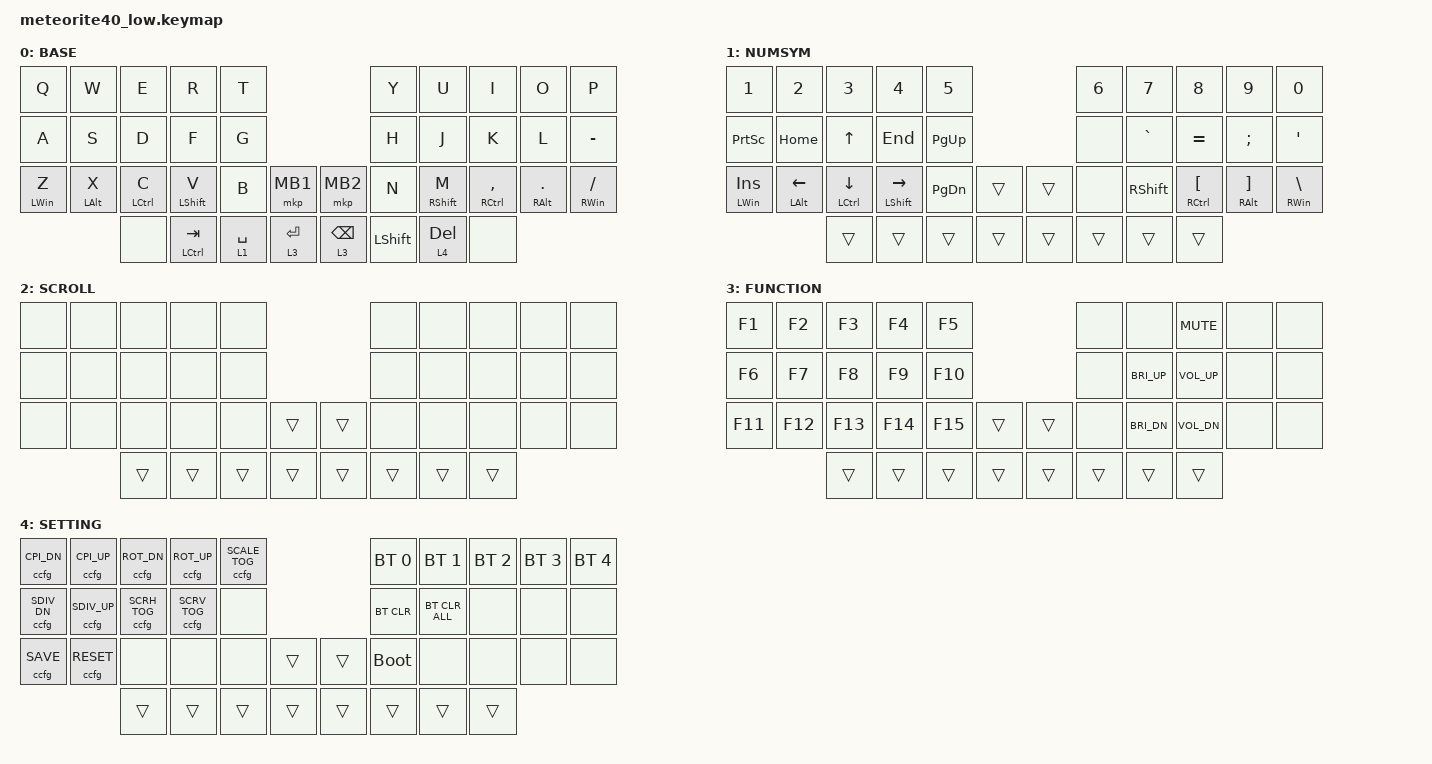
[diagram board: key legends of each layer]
#include <behaviors.dtsi>
#include <dt-bindings/zmk/bt.h>
#include <dt-bindings/zmk/keys.h>
#include <dt-bindings/zmk/pointing.h>

#include <behaviors/custom_config.dtsi>
#include <dt-bindings/zmk/custom_config.h>

&mt { 
    flavor = "tap-preferred"; // change hold to tap
    tapping-term-ms = <200>;
    quick-tap-ms = <150>; // change 200 to 150
};

&lt {
    flavor = "tap-preferred";
    tapping-term-ms = <150>; // change 200 to 150
    quick-tap-ms = <150>; // change 200 to 150
};

/ { 
    behaviors {
        td_mb: tap_dance_mouse_btn {
            compatible = "zmk,behavior-tap-dance";
            #binding-cells = <0>;
            tapping-term-ms = <200>;
            bindings = <&mkp MB4>, <&mkp MB5>, <&kp LC(W)>;
        };
    };

    combos {
        compatible = "zmk,combos";

        lang1 {
            bindings = <&kp LANG1>;
            key-positions = <11 13>; /* S + F */
        };

        lang2 {
            bindings = <&kp LANG2>;
            key-positions = <16 18>; /* J + L */
        };

        ime-1 {
            bindings = <&kp LC(SPACE)>;
            key-positions = <13 16>; /* F + J */
        };

        ime-2 {
            bindings = <&kp LC(SPACE)>;
            key-positions = <35 36>; /* ENTER + BSPC */
        };

        esc {
            bindings = <&kp ESCAPE>;
            key-positions = <0 1>; /* Q + W */
        };

        tab {
            bindings = <&kp TAB>;
            key-positions = <1 2>; /* W + Q */
        };
        
        del {
            bindings = <&kp DEL>;
            key-positions = <7 8>; /* I + O */
        };

        bspc {
            bindings = <&kp BSPC>;
            key-positions = <8 9>; /* O + P */
        };

        enter {
            bindings = <&kp ENTER>;
            key-positions = <18 19>; /* L + - */
        };

        mb3 {
            bindings = <&mkp MB3>;
            key-positions = <25 26>; /* MB1 + MB2 */
        };

        mb4 {
            bindings = <&mkp MB4>;
            key-positions = <24 25>; /* B + MB1 */
        };

        mb5 {
            bindings = <&mkp MB5>;
            key-positions = <26 27>; /* MB2 + N */
        };

        mb6 {
            bindings = <&kp LC(W)>;
            key-positions = <24 27>; /* B + N */
        };
    };

    keymap {
        compatible = "zmk,keymap";
        layout = &LOW_PROFILE_DEFAULT;

        win_default_layer {
            display-name = "BASE";
            bindings = <
                &kp Q       &kp W       &kp E          &kp R          &kp T                                 &kp Y       &kp U        &kp I            &kp O         &kp P
                &kp A       &kp S       &kp D          &kp F          &kp G                                 &kp H       &kp J        &kp K            &kp L         &kp  MINUS
                &mt LWIN Z  &mt LALT X  &mt LCTRL C    &mt LSHFT V    &kp B        &mkp MB1     &mkp MB2    &kp N       &mt RSHFT M  &mt RCTRL COMMA  &mt RALT DOT  &mt RWIN SLASH
                                        &none          &mt LCTRL TAB  &lt 1 SPACE  &lt 3 ENTER  &lt 3 BSPC  &kp LSHFT   &lt 4 DEL    &none
            >;
        };

        layer_1 {
            display-name = "NUMSYM";
            bindings = <
                &kp N1        &kp N2         &kp N3          &kp N4           &kp N5                     &kp N6  &kp N7     &kp N8          &kp N9         &kp N0
                &kp PSCRN     &kp HOME       &kp UP          &kp END          &kp PG_UP                  &none   &kp GRAVE  &kp EQUAL       &kp SEMI       &kp SQT
                &mt LWIN INS  &mt LALT LEFT  &mt LCTRL DOWN  &mt LSHFT RIGHT  &kp PG_DN  &trans  &trans  &none   &kp RSHFT  &mt RCTRL LBKT  &mt RALT RBKT  &mt RWIN BSLH
                                             &trans          &trans           &trans     &trans  &trans  &trans  &trans     &trans
            >;
        };

        layer_2 {
            display-name = "SCROLL";
            bindings = <
                &none   &none   &none   &none   &none                   &none   &none   &none   &none   &none 
                &none   &none   &none   &none   &none                   &none   &none   &none   &none   &none 
                &none   &none   &none   &none   &none   &trans  &trans  &none   &none   &none   &none   &none 
                                &trans  &trans  &trans  &trans  &trans  &trans  &trans  &trans
            >;
        };

        layer_3 {
            display-name = "FUNCTION";
            bindings = <
                &kp F1   &kp F2   &kp F3   &kp F4   &kp F5                   &none   &none         &kp C_MUTE    &none   &none
                &kp F6   &kp F7   &kp F8   &kp F9   &kp F10                  &none   &kp C_BRI_UP  &kp C_VOL_UP  &none   &none
                &kp F11  &kp F12  &kp F13  &kp F14  &kp F15  &trans  &trans  &none   &kp C_BRI_DN  &kp C_VOL_DN  &none   &none
                                  &trans   &trans   &trans   &trans  &trans  &trans  &trans        &trans
            >;
        };

        layer_4 {
			display-name = "SETTING";
			bindings = <
				&ccfg C_CPI_DN  &ccfg C_CPI_UP  &ccfg C_ROT_DN   &ccfg C_ROT_UP   &ccfg C_SCALE_TOG           &bt BT_SEL 0  &bt BT_SEL 1    &bt BT_SEL 2  &bt BT_SEL 3  &bt BT_SEL 4
				&ccfg C_SDIV_DN &ccfg C_SDIV_UP &ccfg C_SCRH_TOG &ccfg C_SCRV_TOG &none                       &bt BT_CLR    &bt BT_CLR_ALL  &none         &none         &none
				&ccfg C_SAVE    &ccfg C_RESET   &none            &none            &none     &trans  &trans    &bootloader   &none           &none         &none         &none
							                    &trans           &trans           &trans    &trans  &trans    &trans        &trans          &trans
			>;
        };
    };
};
